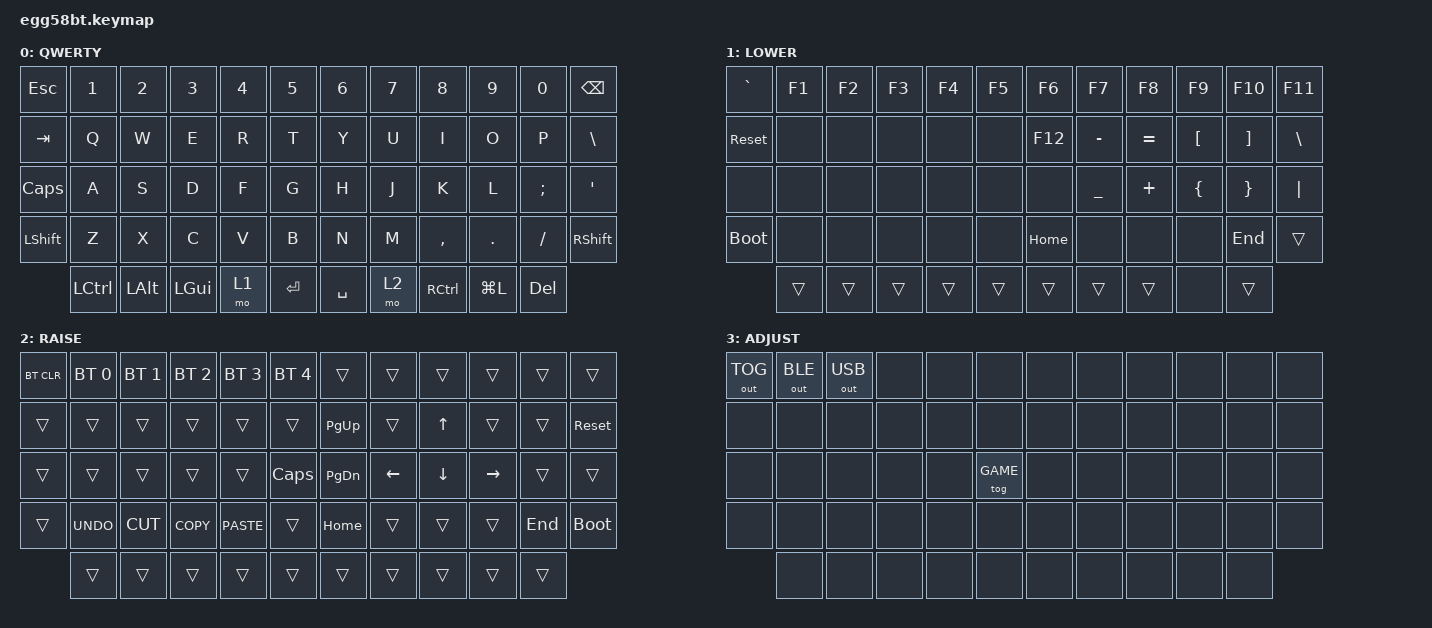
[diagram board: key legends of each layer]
/*
 * Copyright (c) 2020 The ZMK Contributors
 *
 * SPDX-License-Identifier: MIT
 */

#include <behaviors.dtsi>
#include <dt-bindings/zmk/keys.h>
#include <dt-bindings/zmk/bt.h>
#include <dt-bindings/zmk/outputs.h>

#define BASE 0
#define LOWER 1
#define RAISE 2
#define ADJUST 3
#define GAME 4

/ {

   // Activate ADJUST layer by pressing raise and lower
    conditional_layers {
        compatible = "zmk,conditional-layers";
        adjust_layer {
            if-layers = <LOWER RAISE>;
            then-layer = <ADJUST>;
        };
    };

    keymap {
        compatible = "zmk,keymap";

        default_layer {
            label = "QWERTY";
// ------------------------------------------------------------------------------------------------------------
// |  ESC  |  1   |   2   |  3   |   4   |  5   |                   |   6   |   7   |   8   |   9   |   0   |  BSPC |
// |  TAB  |  Q   |   W   |  E   |   R   |  T   |                   |   Y   |   U   |   I   |   O   |   P   |   \   |
// | CAPS  |  A   |   S   |  D   |   F   |  G   |                   |   H   |   J   |   K   |   L   |   ;   |   '   |
// | SHIFT |  Z   |   X   |  C   |   V   |  B   |                   |   N   |   M   |   ,   |   .   |   /   | SHIFT |
//         | CTRL |  ALT  | LGUI |                                                  | CTRL  | LOCK  |  DEL  | 
//                               | LOWER | ENTER |                  | SPACE | RAISE | 
            bindings = <
&kp ESC    &kp N1     &kp N2     &kp N3    &kp N4    &kp N5           &kp N6      &kp N7     &kp N8     &kp N9     &kp N0    &kp BSPC
&kp TAB    &kp Q      &kp W      &kp E     &kp R     &kp T            &kp Y       &kp U      &kp I      &kp O      &kp P     &kp BSLH
&kp CLCK   &kp A      &kp S      &kp D     &kp F     &kp G            &kp H       &kp J      &kp K      &kp L      &kp SEMI  &kp SQT
&kp LSHFT  &kp Z      &kp X      &kp C     &kp V     &kp B            &kp N       &kp M      &kp COMMA  &kp DOT    &kp FSLH  &kp RSHFT
           &kp LCTRL  &kp LALT   &kp LGUI  &mo 1     &kp RET          &kp SPACE   &mo 2      &kp RCTRL  &kp LG(L)  &kp DEL
            >;

        };

        lower_layer {
            label = "LOWER";
// TODO: Some binds are waiting for shifted keycode support.
// ------------------------------------------------------------------------------------------------------------
// |  `~   |  F1  |  F2  |  F3  |  F4  |  F5   |                   |  F6  |   F7   |  F8   |  F9  |  F10  |  F11  |
// |SFTRST |      |      |      |      |       |                   | F12  |    -   |   =   |   [  |   ]   |   \   |
// |       |      |      |      |      |       |                   |      |    _   |   +   |   {  |   }   |   |   |
// | BTLDR |      |      |      |      |       |                   | HOME |        |       |      |  END  |       |
//         | CTRL | ALT  | LGUI |                                                  | CTRL  | LOCK |  DEL  | 
//                              | LOWER| ENTER |                   | SPACE | RAISE |
            bindings = <
&kp GRAVE    &kp F1  &kp F2  &kp F3  &kp F4  &kp F5              &kp F6    &kp F7     &kp F8     &kp F9    &kp F10   &kp F11
&sys_reset   &none   &none   &none   &none   &none               &kp F12   &kp MINUS  &kp EQUAL  &kp LBKT  &kp RBKT  &kp BSLH
&none        &none   &none   &none   &none   &none               &none     &kp UNDER  &kp PLUS   &kp LBRC  &kp RBRC  &kp PIPE
&bootloader  &none   &none   &none   &none   &none               &kp HOME  &none      &none      &none     &kp END   &trans
             &trans  &trans  &trans  &trans   &trans             &trans    &trans     &trans     &none     &trans
            >;

        };

        raise_layer {
            label = "RAISE";
// ------------------------------------------------------------------------------------------------------------
// | BTCLR | BT1  | BT2  |  BT3  |  BT4  |  BT5 |                  |       |      |       |      |       |       |
// |       |      |      |       |       |      |                  | PGUP  |      |   ^   |      |       |SFTRST |
// |       |      |      |       |       | CAPS |                  | PGDN  |   <- |   v   |  ->  |       |       |
// |       | UNDO | CUT  | COPY  | PASTE |      |                  | HOME  |      |       |      |  END  | BTLDR |
//         | CTRL | ALT  | LGUI  |                                                | CTRL  | LOCK |  DEL  | 
//                               | LOWER| ENTER |                  | SPACE | RAISE
            bindings = <
&bt BT_CLR  &bt BT_SEL 0  &bt BT_SEL 1  &bt BT_SEL 2  &bt BT_SEL 3  &bt BT_SEL 4           &trans     &trans    &trans    &trans     &trans   &trans
&trans      &trans        &trans        &trans        &trans        &trans                 &kp PG_UP  &trans    &kp UP    &trans     &trans   &sys_reset
&trans      &trans        &trans        &trans        &trans        &kp CLCK               &kp PG_DN  &kp LEFT  &kp DOWN  &kp RIGHT  &trans   &trans
&trans      &kp K_UNDO    &kp K_CUT     &kp K_COPY    &kp K_PASTE   &trans                 &kp HOME   &trans    &trans    &trans     &kp END  &bootloader
            &trans        &trans        &trans        &trans        &trans                 &trans     &trans     &trans   &trans     &trans
            >;

        };

        Adjust_layer {
            label = "ADJUST";
// ------------------------------------------------------------------------------------------------------------
// |USB/BLE|TOGBLE|TOGUSB|      |       |      |                |      |      |       |      |       |       |
// |       |      |      |      |       |      |                |      |      |       |      |       |       |
// |       |      |      |      |       | GAME |                |      |      |       |      |       |       |
// |       |      |      |      |       |      |                |      |      |       |      |       |       |
//         |      |      |      |                                             |       |      |       | 
//                              |       |      |                |      |
        bindings = <
&out OUT_TOG  &out OUT_BLE  &out OUT_USB  &none  &none  &none                    &none  &none  &none  &none  &none  &none
&none         &none         &none         &none  &none  &none                    &none  &none  &none  &none  &none  &none
&none         &none         &none         &none  &none  &tog GAME                &none  &none  &none  &none  &none  &none
&none         &none         &none         &none  &none  &none                    &none  &none  &none  &none  &none  &none
              &none         &none         &none  &none  &none                    &none  &none  &none  &none  &none
            >;
        };
   
    };
};
